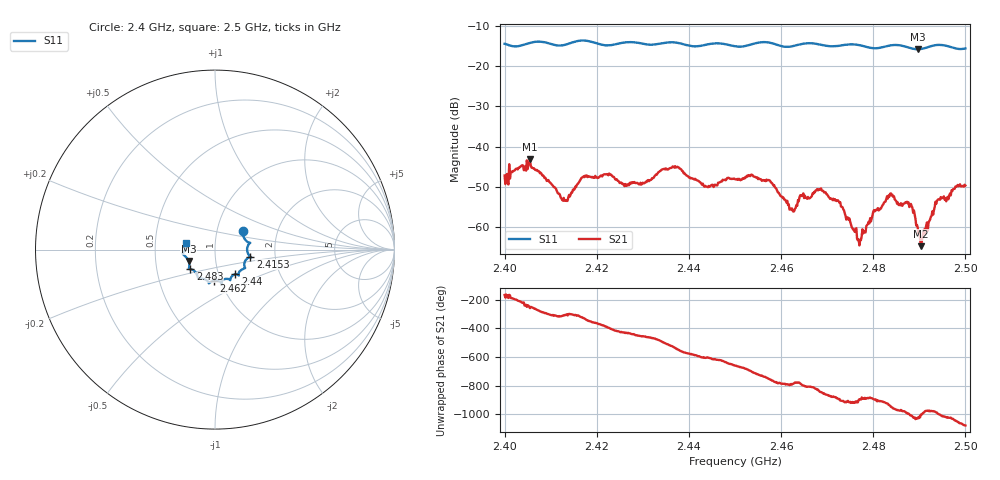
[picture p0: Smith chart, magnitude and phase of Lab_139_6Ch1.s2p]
# Hz S RI R 50
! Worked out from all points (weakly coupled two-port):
!   601 points, 2.4 GHz to 2.5 GHz, reference 50 ohm
!   highest |S21| = -43.19 dB at 2.4055 GHz (marker M1); lowest = -64.7 dB at 2.4903 GHz (marker M2)
!   lowest |S11| = -15.9 dB at 2.4897 GHz (marker M3), VSWR 1.38, Z = 36.9 - j4.84 ohm
!   |S11| at or under -10 dB: start of sweep to end of sweep
!   S12 and S22 are empty: the file has one direction only
!   S11 on the Smith chart (normalised r, x): 2.4 GHz: 1.33, +0.29; 2.4153 GHz: 1.48, -0.12; 2.44 GHz: 1.21, -0.34; 2.462 GHz: 0.93, -0.33; 2.483 GHz: 0.74, -0.17; 2.5 GHz: 0.72, +0.06
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2.4e9  0.1549 0.1062  -0.00426 -0.001  0 0  0 0
2.4055e9  0.1885 0.0388  -0.00133 0.0068  0 0  0 0
2.413e9  0.1812 -0.0148  0.00128 0.0017  0 0  0 0
2.415333e9  0.1963 -0.0387  0.00188 0.00256  0 0  0 0
2.416667e9  0.2018 -0.0427  0.00323 0.00247  0 0  0 0
2.4265e9  0.1679 -0.1016  0.00108 -0.0032  0 0  0 0
2.433333e9  0.1312 -0.1336  -0.00239 -0.00412  0 0  0 0
2.44e9  0.1142 -0.1369  -0.00333 0.00244  0 0  0 0
2.443833e9  0.0862 -0.1622  -0.00139 0.00286  0 0  0 0
2.45e9  0.0648 -0.1628  0.002 0.00338  0 0  0 0
2.457333e9  0.0387 -0.191  0.00323 -0.00208  0 0  0 0
2.462e9  -0.00525 -0.1731  0.000499 -0.00162  0 0  0 0
2.466667e9  -0.0343 -0.1875  -2.57e-05 -0.00241  0 0  0 0
2.472333e9  -0.0733 -0.1605  -0.00213 -0.000322  0 0  0 0
2.477e9  -0.096 -0.153  -0.000591 -5.8e-05  0 0  0 0
2.483e9  -0.1373 -0.1095  -0.00222 0.000981  0 0  0 0
2.483333e9  -0.1399 -0.1093  -0.00205 0.00137  0 0  0 0
2.488e9  -0.1425 -0.0865  0.000557 0.00176  0 0  0 0
2.489667e9  -0.1472 -0.0639  0.000525 0.000821  0 0  0 0
2.490333e9  -0.1521 -0.0544  0.000122 0.000568  0 0  0 0
2.494e9  -0.1803 -0.0231  0.000186 0.00218  0 0  0 0
2.5e9  -0.1598 0.0392  0.00328 0.000115  0 0  0 0
